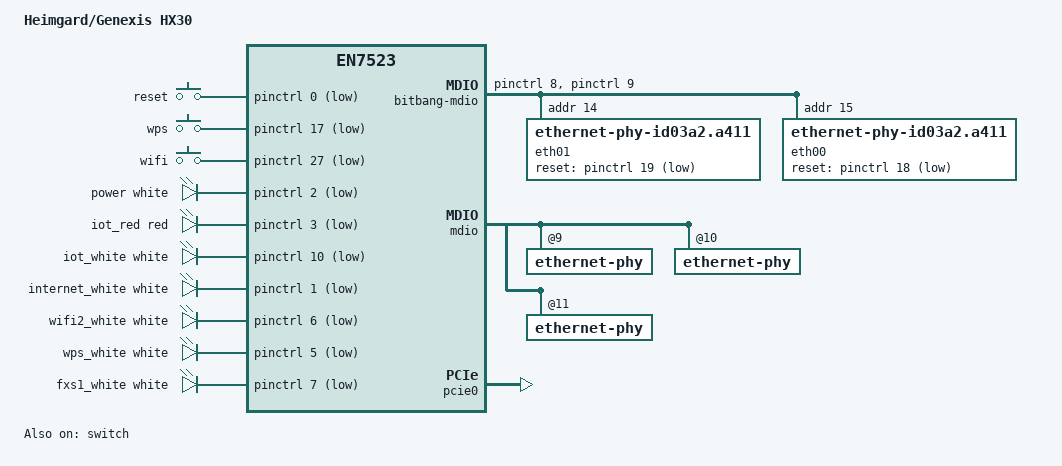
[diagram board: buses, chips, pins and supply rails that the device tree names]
/* SPDX-License-Identifier: GPL-2.0-or-later OR MIT */
/dts-v1/;

#include "en7523-genexis.dtsi"

/ {
	model = "Heimgard/Genexis HX30";
	compatible = "genexis,zephyr", "airoha,en7523";

	aliases {
		led-boot = &power;
		led-failsafe = &iot_red;
		led-upgrade = &power;
		led-running = &power;
	};

	keys {
		compatible = "gpio-keys-polled";
		poll-interval = <100>;

		reset {
			label = "reset";
			linux,code = <KEY_RESTART>;
			gpios = <&pinctrl 0 GPIO_ACTIVE_LOW>;
			debounce-interval = <60>;
		};

		wps {
			label = "wps";
			linux,code = <KEY_WPS_BUTTON>;
			gpios = <&pinctrl 17 GPIO_ACTIVE_LOW>;
			debounce-interval = <60>;
		};

		wireless {
			label = "wifi";
			linux,code = <KEY_WLAN>;
			gpios = <&pinctrl 27 GPIO_ACTIVE_LOW>;
			debounce-interval = <60>;
		};
	};

	leds {
		compatible = "gpio-leds";

		/* power:white */
		power: led@2 {
			gpios = <&pinctrl 2 GPIO_ACTIVE_LOW>;
			function-enumerator = <2>;
			color = <LED_COLOR_ID_WHITE>;
			function = LED_FUNCTION_STATUS;
		};

		/* iot:red */
		iot_red: led@3 {
			gpios = <&pinctrl 3 GPIO_ACTIVE_LOW>;
			function-enumerator = <3>;
			color = <LED_COLOR_ID_RED>;
			function = LED_FUNCTION_STATUS;
		};

		/* iot:white */
		iot_white: led@10 {
			gpios = <&pinctrl 10 GPIO_ACTIVE_LOW>;
			function-enumerator = <10>;
			color = <LED_COLOR_ID_WHITE>;
			function = LED_FUNCTION_STATUS;
		};

		/* internet:white */
		internet_white: led@1 {
			gpios = <&pinctrl 1 GPIO_ACTIVE_LOW>;
			function-enumerator = <1>;
			color = <LED_COLOR_ID_WHITE>;
			function = LED_FUNCTION_WAN_ONLINE;
		};

		/* wifi:white */
		wifi2_white: led@6 {
			gpios = <&pinctrl 6 GPIO_ACTIVE_LOW>;
			function-enumerator = <6>;
			color = <LED_COLOR_ID_WHITE>;
			function = LED_FUNCTION_WLAN;
		};

		/* wps:white */
		wps_white: led@5 {
			gpios = <&pinctrl 5 GPIO_ACTIVE_LOW>;
			function-enumerator = <5>;
			color = <LED_COLOR_ID_WHITE>;
			function = LED_FUNCTION_WPS;
		};

		/* fxs1:white */
		fxs1_white: led@7 {
			gpios = <&pinctrl 7 GPIO_ACTIVE_LOW>;
			function-enumerator = <7>;
			color = <LED_COLOR_ID_WHITE>;
			function = LED_FUNCTION_STATUS;
		};
	};

	bitbang-mdio {
		compatible = "virtual,mdio-gpio";
		pinctrl-names = "default";
		gpios = <&pinctrl 8 GPIO_ACTIVE_HIGH>,
		        <&pinctrl 9 GPIO_ACTIVE_HIGH>;
		#address-cells = <1>;
		#size-cells = <0>;

		eth01: ethernet-phy@0 {
			compatible = "ethernet-phy-id03a2.a411";
			reg = <14>;
			reset-gpios = <&pinctrl 19 GPIO_ACTIVE_LOW>;
			reset-assert-us = <10000>;
			reset-deassert-us = <10000>;
			phy-mode = "2500base-x";
			full-duplex;
			pause;
		};

		eth00: ethernet-phy@1 {
			compatible = "ethernet-phy-id03a2.a411";
			reg = <15>;
			reset-gpios = <&pinctrl 18 GPIO_ACTIVE_LOW>;
			reset-assert-us = <10000>;
			reset-deassert-us = <10000>;
			phy-mode = "2500base-x";
			full-duplex;
			pause;
		};
	};

	// ae_wan {
	// 	wan-sel = <0x00>;
	// 	phy-handle = <&eth00>;
	// };
	// hsgmii_lan {
	// 	usb-phy-handle = <&eth01>;
	// };
};

&switch {
	status = "okay";
	ports {
		port@1 {
			label = "lan1";
			status = "okay";
		};

		port@2 {
			label = "lan2";
			status = "okay";
		};

		port@3 {
			label = "lan3";
			status = "okay";
		};
	};

	mdio {
		ethernet-phy@9 {
			status = "okay";
			leds {
				led0@0 {
					status = "okay";
				};
			};
		};

		ethernet-phy@10 {
			status = "okay";
			leds {
				led0@0 {
					status = "okay";
				};
			};
		};

		ethernet-phy@11 {
			status = "okay";
			leds {
				led0@0 {
					status = "okay";
				};
			};
		};
	};
};

&pcie0 {
	status = "okay";

	pcie@0,0 {
		reg = <0x00000000 0 0 0 0>;
		#address-cells = <3>;
		#size-cells = <2>;

		/*
		 * 2.4 GHz radio. The calibration EEPROM is extracted live from
		 * the boarddata volume by hotplug.d/firmware; the MAC comes from
		 * the U-Boot env (base+2, matching the vendor assignment) so this
		 * radio does not fall back to the EEPROM's default MAC.
		 */
		mt7915@0,0 {
			reg = <0x0000 0 0 0 0>;
			#address-cells = <1>;
			#size-cells = <0>;
			nvmem-cells = <&eeprom0>;
			nvmem-cell-names = "eeprom";
			airoha,npu = <&npu>;
			airoha,eth = <&eth>;

			band@0 {
				reg = <0>;
				nvmem-cells = <&ubootenv_ethaddr 2>;
				nvmem-cell-names = "mac-address";
			};
		};
	};
};

/*
 * On the HX30 the pcie1 radio is a single-band 5 GHz mt7915, so it uses the
 * shared mt7916 node's band@0. Override its MAC to base+3 (the shared band@0
 * default of base+2 is used by the 2.4 GHz radio on pcie0 above).
 */
&pcie1 {
	pcie@1,0 {
		mt7916@0,0 {
			band@0 {
				nvmem-cells = <&ubootenv_ethaddr 3>;
				nvmem-cell-names = "mac-address";
			};
		};
	};
};
